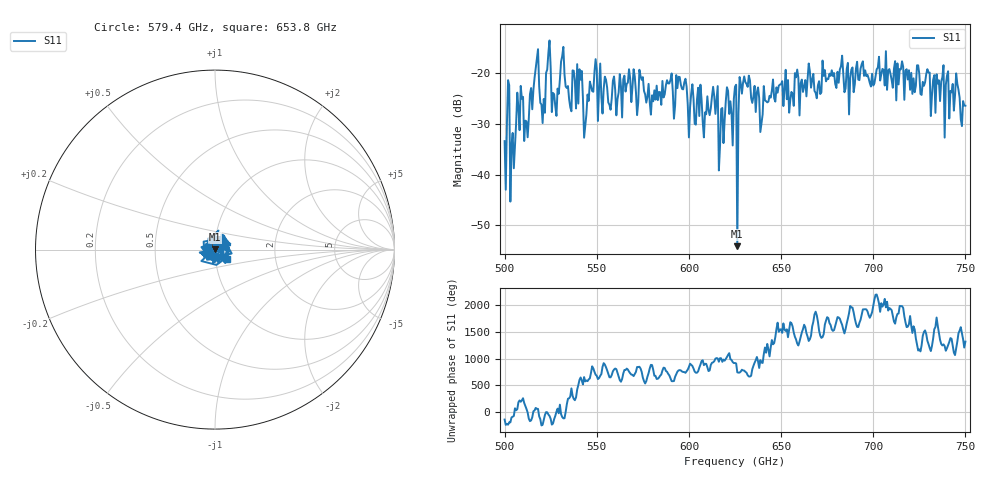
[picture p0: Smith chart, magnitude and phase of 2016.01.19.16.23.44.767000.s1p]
!Created with skrf (http://scikit-rf.org).
# GHz S RI R 50.0
!freq ReS11 ImS11
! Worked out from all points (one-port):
!   401 points, 500 GHz to 750 GHz, reference 50 ohm
!   lowest |S11| = -54.1 dB at 626.2 GHz (marker M1), VSWR 1.00, Z = 50.2 + j0.0838 ohm
!   |S11| at or under -10 dB: start of sweep to end of sweep
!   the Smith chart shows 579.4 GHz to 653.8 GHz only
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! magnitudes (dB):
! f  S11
! 500 GHz  -33.4
! 502.5 GHz  -22.4
! 504.4 GHz  -31.8
! 508.1 GHz  -31.3
! 511.9 GHz  -29.5
! 516.9 GHz  -19.1
! 520.6 GHz  -29.9
! 523.8 GHz  -16.0
! 526.9 GHz  -24.2
! 531.2 GHz  -16.7
! 535 GHz  -25.1
! 540.6 GHz  -19.2
! 543.8 GHz  -30.5
! 548.8 GHz  -19.8
! 562.5 GHz  -20.2
! 593.8 GHz  -23.0
! 608.1 GHz  -32.7
! 614.4 GHz  -28.1
! 617.5 GHz  -27.1
! 621.2 GHz  -23.5
! 625 GHz  -22.7
! 626.2 GHz  -54.1
! 628.8 GHz  -24.1
! 638.8 GHz  -31.6
! 656.2 GHz  -24.2
! 687.5 GHz  -21.0
! 718.8 GHz  -21.3
! 750 GHz  -26.4
